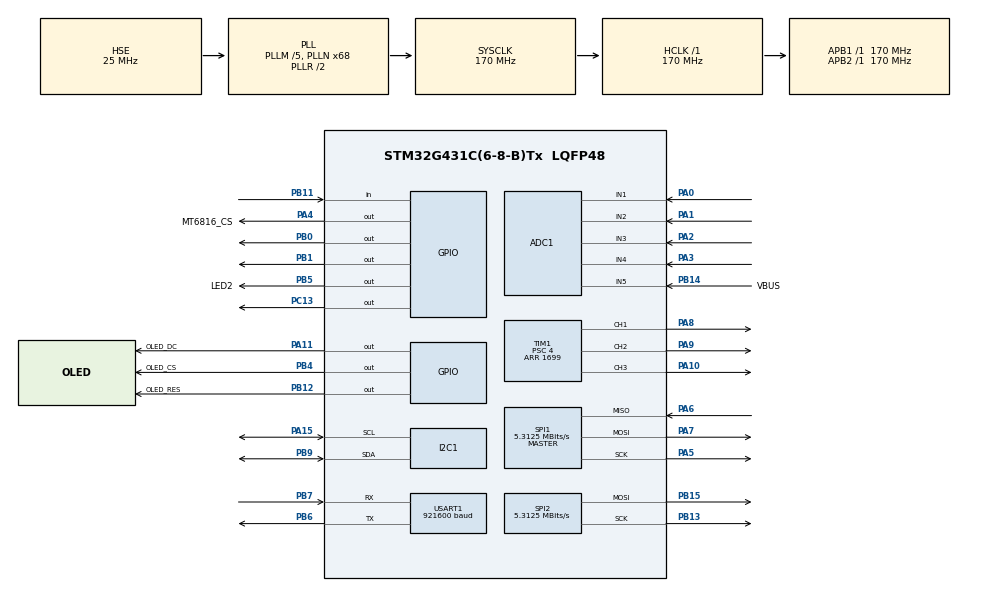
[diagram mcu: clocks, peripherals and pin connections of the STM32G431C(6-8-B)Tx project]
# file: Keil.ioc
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ADC1.Channel-0\#ChannelRegularConversion=ADC_CHANNEL_1
ADC1.Channel-1\#ChannelRegularConversion=ADC_CHANNEL_2
ADC1.Channel-2\#ChannelRegularConversion=ADC_CHANNEL_3
ADC1.Channel-3\#ChannelRegularConversion=ADC_CHANNEL_4
ADC1.Channel-4\#ChannelRegularConversion=ADC_CHANNEL_5
ADC1.ContinuousConvMode=ENABLE
ADC1.EnableInjectedConversion=ENABLE
ADC1.ExternalTrigConv=ADC_SOFTWARE_START
ADC1.ExternalTrigConvEdge=ADC_EXTERNALTRIGCONVEDGE_NONE
ADC1.ExternalTrigInjecConv=ADC_EXTERNALTRIGINJEC_T1_CC4
ADC1.ExternalTrigInjecConvEdge=ADC_EXTERNALTRIGINJECCONV_EDGE_FALLING
ADC1.InjNumberOfConversion=3
ADC1.InjectedChannel-5\#ChannelInjectedConversion=ADC_CHANNEL_1
ADC1.InjectedChannel-6\#ChannelInjectedConversion=ADC_CHANNEL_2
ADC1.InjectedChannel-7\#ChannelInjectedConversion=ADC_CHANNEL_3
ADC1.InjectedOffsetNumber-5\#ChannelInjectedConversion=ADC_OFFSET_NONE
ADC1.InjectedOffsetNumber-6\#ChannelInjectedConversion=ADC_OFFSET_NONE
ADC1.InjectedOffsetNumber-7\#ChannelInjectedConversion=ADC_OFFSET_NONE
ADC1.InjectedRank-5\#ChannelInjectedConversion=1
ADC1.InjectedRank-6\#ChannelInjectedConversion=2
ADC1.InjectedRank-7\#ChannelInjectedConversion=3
ADC1.InjectedSamplingTime-5\#ChannelInjectedConversion=ADC_SAMPLETIME_24CYCLES_5
ADC1.InjectedSamplingTime-6\#ChannelInjectedConversion=ADC_SAMPLETIME_24CYCLES_5
ADC1.InjectedSamplingTime-7\#ChannelInjectedConversion=ADC_SAMPLETIME_24CYCLES_5
ADC1.NbrOfConversion=5
ADC1.NbrOfConversionFlag=1
ADC1.OffsetNumber-0\#ChannelRegularConversion=ADC_OFFSET_NONE
ADC1.OffsetNumber-1\#ChannelRegularConversion=ADC_OFFSET_NONE
ADC1.OffsetNumber-2\#ChannelRegularConversion=ADC_OFFSET_NONE
ADC1.OffsetNumber-3\#ChannelRegularConversion=ADC_OFFSET_NONE
ADC1.OffsetNumber-4\#ChannelRegularConversion=ADC_OFFSET_NONE
ADC1.Rank-0\#ChannelRegularConversion=1
ADC1.Rank-1\#ChannelRegularConversion=2
ADC1.Rank-2\#ChannelRegularConversion=3
ADC1.Rank-3\#ChannelRegularConversion=4
ADC1.Rank-4\#ChannelRegularConversion=5
ADC1.Rank1_Channel=ADC_CHANNEL_1
ADC1.Rank2_Channel=ADC_CHANNEL_2
ADC1.Rank3_Channel=ADC_CHANNEL_3
ADC1.Rank4_Channel=ADC_CHANNEL_1
ADC1.SamplingTime-0\#ChannelRegularConversion=ADC_SAMPLETIME_24CYCLES_5
ADC1.SamplingTime-1\#ChannelRegularConversion=ADC_SAMPLETIME_24CYCLES_5
ADC1.SamplingTime-2\#ChannelRegularConversion=ADC_SAMPLETIME_24CYCLES_5
ADC1.SamplingTime-3\#ChannelRegularConversion=ADC_SAMPLETIME_24CYCLES_5
ADC1.SamplingTime-4\#ChannelRegularConversion=ADC_SAMPLETIME_24CYCLES_5
ADC1.master=1
Dma.ADC1.0.Direction=DMA_PERIPH_TO_MEMORY
Dma.ADC1.0.EventEnable=DISABLE
Dma.ADC1.0.Instance=DMA1_Channel1
Dma.ADC1.0.MemDataAlignment=DMA_MDATAALIGN_HALFWORD
Dma.ADC1.0.MemInc=DMA_MINC_ENABLE
Dma.ADC1.0.Mode=DMA_CIRCULAR
Dma.ADC1.0.PeriphDataAlignment=DMA_PDATAALIGN_HALFWORD
Dma.ADC1.0.PeriphInc=DMA_PINC_DISABLE
Dma.ADC1.0.Polarity=HAL_DMAMUX_REQ_GEN_RISING
Dma.ADC1.0.Priority=DMA_PRIORITY_LOW
Dma.ADC1.0.RequestNumber=1
Dma.ADC1.0.SignalID=NONE
Dma.ADC1.0.SyncEnable=DISABLE
Dma.ADC1.0.SyncPolarity=HAL_DMAMUX_SYNC_NO_EVENT
Dma.ADC1.0.SyncRequestNumber=1
Dma.ADC1.0.SyncSignalID=NONE
Dma.Request0=ADC1
Dma.Request1=USART1_RX
Dma.Request2=USART1_TX
Dma.USART1_RX.1.Direction=DMA_PERIPH_TO_MEMORY
Dma.USART1_RX.1.EventEnable=DISABLE
Dma.USART1_RX.1.Instance=DMA1_Channel2
Dma.USART1_RX.1.MemDataAlignment=DMA_MDATAALIGN_BYTE
Dma.USART1_RX.1.MemInc=DMA_MINC_ENABLE
Dma.USART1_RX.1.Mode=DMA_CIRCULAR
Dma.USART1_RX.1.PeriphDataAlignment=DMA_PDATAALIGN_BYTE
Dma.USART1_RX.1.PeriphInc=DMA_PINC_DISABLE
Dma.USART1_RX.1.Polarity=HAL_DMAMUX_REQ_GEN_RISING
Dma.USART1_RX.1.Priority=DMA_PRIORITY_LOW
Dma.USART1_RX.1.RequestNumber=1
Dma.USART1_RX.1.SignalID=NONE
Dma.USART1_RX.1.SyncEnable=DISABLE
Dma.USART1_RX.1.SyncPolarity=HAL_DMAMUX_SYNC_NO_EVENT
Dma.USART1_RX.1.SyncRequestNumber=1
Dma.USART1_RX.1.SyncSignalID=NONE
Dma.USART1_TX.2.Direction=DMA_MEMORY_TO_PERIPH
Dma.USART1_TX.2.EventEnable=DISABLE
Dma.USART1_TX.2.Instance=DMA1_Channel3
Dma.USART1_TX.2.MemDataAlignment=DMA_MDATAALIGN_BYTE
Dma.USART1_TX.2.MemInc=DMA_MINC_ENABLE
Dma.USART1_TX.2.Mode=DMA_NORMAL
Dma.USART1_TX.2.PeriphDataAlignment=DMA_PDATAALIGN_BYTE
Dma.USART1_TX.2.PeriphInc=DMA_PINC_DISABLE
Dma.USART1_TX.2.Polarity=HAL_DMAMUX_REQ_GEN_RISING
Dma.USART1_TX.2.Priority=DMA_PRIORITY_LOW
Dma.USART1_TX.2.RequestNumber=1
Dma.USART1_TX.2.SignalID=NONE
Dma.USART1_TX.2.SyncEnable=DISABLE
Dma.USART1_TX.2.SyncPolarity=HAL_DMAMUX_SYNC_NO_EVENT
Dma.USART1_TX.2.SyncRequestNumber=1
Dma.USART1_TX.2.SyncSignalID=NONE
I2C1.Timing=0x40B285C2
Mcu.Family=STM32G4
Mcu.Name=STM32G431C(6-8-B)Tx
Mcu.Package=LQFP48
NVIC.ADC1_2_IRQn=true\:2\:0\:true\:false\:true\:true\:true\:true
NVIC.DMA1_Channel1_IRQn=true\:0\:0\:false\:false\:true\:false\:true\:true
NVIC.DMA1_Channel2_IRQn=true\:1\:0\:true\:false\:true\:false\:true\:true
NVIC.DMA1_Channel3_IRQn=true\:2\:0\:true\:false\:true\:false\:true\:true
NVIC.PriorityGroup=NVIC_PRIORITYGROUP_4
NVIC.SPI1_IRQn=true\:4\:0\:true\:false\:true\:true\:true\:true
NVIC.TIM2_IRQn=true\:0\:0\:true\:false\:true\:true\:true\:true
NVIC.USART1_IRQn=true\:2\:0\:true\:false\:true\:true\:true\:true
PA0.Mode=IN1-Single-Ended
PA0.Signal=ADC1_IN1
PA1.Mode=IN2-Single-Ended
PA1.Signal=ADC1_IN2
PA10.Signal=S_TIM1_CH3
PA11.GPIO_Label=OLED_DC
PA11.Signal=GPIO_Output
PA13.Mode=Serial_Wire
PA13.Signal=SYS_JTMS-SWDIO
PA14.Mode=Serial_Wire
PA14.Signal=SYS_JTCK-SWCLK
PA15.Mode=I2C
PA15.Signal=I2C1_SCL
PA2.Mode=IN3-Single-Ended
PA2.Signal=ADC1_IN3
PA3.Mode=IN4-Single-Ended
PA3.Signal=ADC1_IN4
PA4.GPIO_Label=MT6816_CS
PA4.GPIO_PuPd=GPIO_NOPULL
PA4.PinState=GPIO_PIN_SET
PA4.Signal=GPIO_Output
PA5.Mode=Full_Duplex_Master
PA5.Signal=SPI1_SCK
PA6.GPIO_PuPd=GPIO_PULLUP
PA6.Mode=Full_Duplex_Master
PA6.Signal=SPI1_MISO
PA7.GPIO_PuPd=GPIO_PULLUP
PA7.Mode=Full_Duplex_Master
PA7.Signal=SPI1_MOSI
PA8.Signal=S_TIM1_CH1
PA9.Signal=S_TIM1_CH2
PB0.PinState=GPIO_PIN_SET
PB0.Signal=GPIO_Output
PB1.PinState=GPIO_PIN_SET
PB1.Signal=GPIO_Output
PB11.Signal=GPIO_Input
PB12.GPIO_Label=OLED_RES
PB12.Signal=GPIO_Output
PB13.Mode=TX_Only_Simplex_Unidirect_Master
PB13.Signal=SPI2_SCK
PB14.GPIO_Label=VBUS
PB14.Mode=IN5-Single-Ended
PB14.Signal=ADC1_IN5
PB15.Mode=TX_Only_Simplex_Unidirect_Master
PB15.Signal=SPI2_MOSI
PB4.GPIO_Label=OLED_CS
PB4.Signal=GPIO_Output
PB5.GPIO_Label=LED2
PB5.Signal=GPIO_Output
PB6.GPIO_PuPd=GPIO_NOPULL
PB6.Mode=Asynchronous
PB6.Signal=USART1_TX
PB7.GPIO_PuPd=GPIO_PULLUP
PB7.Mode=Asynchronous
PB7.Signal=USART1_RX
PB9.Mode=I2C
PB9.Signal=I2C1_SDA
PC13.Signal=GPIO_Output
PC14-OSC32_IN.Mode=LSE-External-Oscillator
PC14-OSC32_IN.Signal=RCC_OSC32_IN
PC15-OSC32_OUT.Mode=LSE-External-Oscillator
PC15-OSC32_OUT.Signal=RCC_OSC32_OUT
PF0-OSC_IN.Mode=HSE-External-Oscillator
PF0-OSC_IN.Signal=RCC_OSC_IN
PF1-OSC_OUT.Mode=HSE-External-Oscillator
PF1-OSC_OUT.Signal=RCC_OSC_OUT
ProjectManager.HeapSize=0x200
ProjectManager.StackSize=0x400
ProjectManager.TargetToolchain=MDK-ARM V5.32
RCC.ADC12Freq_Value=170000000
RCC.AHBFreq_Value=170000000
RCC.APB1Freq_Value=170000000
RCC.APB1TimFreq_Value=170000000
RCC.APB2Freq_Value=170000000
RCC.APB2TimFreq_Value=170000000
RCC.CortexFreq_Value=170000000
RCC.EXTERNAL_CLOCK_VALUE=12288000
RCC.FDCANCLockSelection=RCC_FDCANCLKSOURCE_PLL
RCC.HCLKFreq_Value=170000000
RCC.HSE_VALUE=25000000
RCC.HSI48_VALUE=48000000
RCC.HSI_VALUE=16000000
RCC.PLLM=RCC_PLLM_DIV5
RCC.PLLN=68
RCC.PLLQ=RCC_PLLQ_DIV4
RCC.PLLSourceVirtual=RCC_PLLSOURCE_HSE
RCC.SYSCLKFreq_VALUE=170000000
RCC.SYSCLKSource=RCC_SYSCLKSOURCE_PLLCLK
RCC.USBFreq_Value=85000000
RCC.VCOOutputFreq_Value=340000000
SH.S_TIM1_CH1.0=TIM1_CH1,PWM Generation1 CH1
SH.S_TIM1_CH2.0=TIM1_CH2,PWM Generation2 CH2
SH.S_TIM1_CH3.0=TIM1_CH3,PWM Generation3 CH3
SPI1.BaudRatePrescaler=SPI_BAUDRATEPRESCALER_32
SPI1.CLKPhase=SPI_PHASE_2EDGE
SPI1.CLKPolarity=SPI_POLARITY_HIGH
SPI1.CalculateBaudRate=5.3125 MBits/s
SPI1.DataSize=SPI_DATASIZE_8BIT
SPI1.Direction=SPI_DIRECTION_2LINES
SPI1.Mode=SPI_MODE_MASTER
SPI1.VirtualType=VM_MASTER
SPI2.BaudRatePrescaler=SPI_BAUDRATEPRESCALER_32
SPI2.CLKPhase=SPI_PHASE_1EDGE
SPI2.CLKPolarity=SPI_POLARITY_LOW
SPI2.CalculateBaudRate=5.3125 MBits/s
SPI2.DataSize=SPI_DATASIZE_8BIT
SPI2.Direction=SPI_DIRECTION_2LINES
SPI2.Mode=SPI_MODE_MASTER
SPI2.VirtualType=VM_MASTER
TIM1.AutoReloadPreload=TIM_AUTORELOAD_PRELOAD_ENABLE
TIM1.Channel-PWM\ Generation1\ CH1=TIM_CHANNEL_1
TIM1.Channel-PWM\ Generation2\ CH2=TIM_CHANNEL_2
TIM1.Channel-PWM\ Generation3\ CH3=TIM_CHANNEL_3
TIM1.Channel-PWM\ Generation4\ No\ Output=TIM_CHANNEL_4
TIM1.CounterMode=TIM_COUNTERMODE_CENTERALIGNED1
TIM1.OCMode_PWM-PWM\ Generation1\ CH1=TIM_OCMODE_PWM2
TIM1.OCMode_PWM-PWM\ Generation2\ CH2=TIM_OCMODE_PWM2
TIM1.OCMode_PWM-PWM\ Generation3\ CH3=TIM_OCMODE_PWM2
TIM1.OCMode_PWM-PWM\ Generation4\ No\ Output=TIM_OCMODE_PWM2
TIM1.OCPolarity_1=TIM_OCPOLARITY_HIGH
TIM1.OCPolarity_2=TIM_OCPOLARITY_HIGH
TIM1.OCPolarity_3=TIM_OCPOLARITY_HIGH
TIM1.PeriodNoDither=1699
TIM1.Prescaler=4
TIM1.TIM_MasterOutputTrigger=TIM_TRGO_UPDATE
TIM1.TIM_MasterSlaveMode=TIM_MASTERSLAVEMODE_DISABLE
TIM2.AutoReloadPreload=TIM_AUTORELOAD_PRELOAD_ENABLE
TIM2.PeriodNoDither=499
TIM2.Prescaler=16
USART1.BaudRate=921600
USART1.DMADisableonRxErrorParam=ADVFEATURE_DMA_ENABLEONRXERROR
USART1.FIFOMode=FIFOMODE_DISABLE
USART1.RXFIFOThreshold=RXFIFO_THRESHOLD_1EIGHTHFULL
USART1.TXFIFOThreshold=TXFIFO_THRESHOLD_1EIGHTHFULL
USART1.VirtualMode-Asynchronous=VM_ASYNC
VP_SYS_VS_DBSignals.Mode=DisableDeadBatterySignals
VP_TIM1_VS_ClockSourceINT.Mode=Internal
VP_TIM1_VS_no_output4.Mode=PWM Generation4 No Output
VP_TIM2_VS_ClockSourceINT.Mode=Internal
board=custom

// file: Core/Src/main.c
/* USER CODE BEGIN Header */
/**
  ******************************************************************************
  * @file           : main.c
  * @brief          : Main program body
  ******************************************************************************
  * @attention
  *
  * Copyright (c) 2025 STMicroelectronics.
  * All rights reserved.
  *
  * This software is licensed under terms that can be found in the LICENSE file
  * in the root directory of this software component.
  * If no LICENSE file comes with this software, it is provided AS-IS.
  *
  ******************************************************************************
  */
/* USER CODE END Header */
#include "main.h"
#include "adc.h"
#include "dma.h"
#include "i2c.h"
#include "spi.h"
#include "tim.h"
#include "usart.h"
#include "gpio.h"

/* USER CODE BEGIN Includes */
#include "motor.h"
#include "current.h"
#include "oled.h"

/* USER CODE END Includes */

/* USER CODE BEGIN PTD */
const unsigned char G[12]={0x0F,0x00,0x10,0x80,0x20,0x40,0x22,0x40,0x33,0x80,0x02,0x00};/*"G",39*/

uint8_t taskFlag_1000Hz = false;
uint8_t taskFlag_100Hz = false;
uint8_t taskFlag_10Hz = false;
uint8_t taskFlag_1Hz = false;
uint8_t led_cnt=0;
uint8_t DriverAlign_flag=false;
uint8_t isample_flag=0;

uint8_t tran_index=0;
uint8_t tran_flag=0;

uint16_t adc_cnt=0;

uint16_t factor=0;
uint8_t usart1_rx[usart1_rx_num]={0};
uint8_t rx_cplt=0XFF;
uint16_t ADC_Value_temp[ADC_CHANNELS]={0};
float ADC_Value[ADC_CHANNELS]={0};

extern MT6816 encoder;
uint8_t try_oled=0xCF;
char tail[4]={0x00,0x00,0x80,0x7f};
SVPWM_Result result1;
SVPWM_Struct FOC1={0};
float pi=3.141593;
float theta_step=0;
PIController cur_lop_iq_pictr;
PIController cur_lop_id_pictr;

char align0[50]={0};
char align1[50]={0};
char align2[50]={0};
int i_DriverAlign=0;

float iq_ref=0.4;
float id_ref=0;
/* USER CODE END PTD */

void SystemClock_Config(void);

int main(void)
{

  /* MCU Configuration--------------------------------------------------------*/

  /* Reset of all peripherals, Initializes the Flash interface and the Systick. */
  HAL_Init();

  /* Configure the system clock */
  SystemClock_Config();

  /* Initialize all configured peripherals */
  MX_GPIO_Init();
  MX_DMA_Init();
  MX_ADC1_Init();
  MX_I2C1_Init();
  MX_SPI1_Init();
  MX_SPI2_Init();
  MX_TIM1_Init();
  MX_USART1_UART_Init();
  MX_TIM2_Init();
  /* USER CODE BEGIN 2 */

        htim1.Instance->CCER |= TIM_CCER_CC4E;  // 启用内部比较事件
        htim1.Instance->CCR4 = 800;           // 设置比较值
        HAL_TIM_Base_Start(&htim1);
  HAL_Delay(1000);
  HAL_TIM_Base_Start_IT(&htim2);
  initMT6816(&encoder,&hspi1);
  SVPWM_Init(&result1);
  HAL_GPIO_WritePin(GPIOC,GPIO_PIN_13,GPIO_PIN_SET);
  HAL_GPIO_WritePin(GPIOB,GPIO_PIN_0,GPIO_PIN_SET);
  HAL_GPIO_WritePin(GPIOB,GPIO_PIN_1,GPIO_PIN_SET);
//  __HAL_TIM_SetCompare(&htim1,TIM_CHANNEL_1,800);
  HAL_ADCEx_InjectedStart_IT(&hadc1);
      /*使用串口空闲中断+DMA前要先接收一次*/
    __HAL_UART_ENABLE_IT(&huart1, UART_IT_IDLE);
    HAL_UART_Receive_DMA(&huart1,usart1_rx,usart1_rx_num);
    HAL_UART_DMAResume(&huart1);
    PIController_Init(&cur_lop_iq_pictr,25,83159,15,0); //83159
    PIController_Init(&cur_lop_id_pictr,25,83159,15,0);
    //DriverAlign(&FOC1);
  //HAL_UART_Receive_IT(&huart1, usart1_rx, usart1_rx_num);
  //HAL_ADC_Start_DMA(&hadc1,(uint32_t *)ADC_Value_temp,ADC_CHANNELS);
//  __HAL_TIM_SetCompare(&htim1,TIM_CHANNEL_1,249);
//  __HAL_TIM_SetCompare(&htim1,TIM_CHANNEL_2,15);
//  __HAL_TIM_SetCompare(&htim1,TIM_CHANNEL_3,484);
    OLED_Init();

    OLED_DisPlay_On();
       // OLED_DisplayTurn(1);
    //OLED_Refresh();
  /* USER CODE END 2 */

  /* Infinite loop */
  while (1)
  {

    /* USER CODE BEGIN 3 */
                //OLED_ShowNum(0,0,4,3,16);

//	   OLED_WR_Byte(0xb0+10,OLED_CMD); //设置行起始地址
//	   OLED_WR_Byte(0x00,OLED_CMD);   //设置低列起始地址
//	   OLED_WR_Byte(0x10,OLED_CMD);   //设置高列起始地址
//	   for(int n=0;n<12;n++)
//		 OLED_WR_Byte(G[n],OLED_DATA);
//          HAL_Delay(100);
                //OLED_Clear()
	  if(taskFlag_10Hz==true){
               if(led_cnt==5){
                      HAL_GPIO_TogglePin(LED2_GPIO_Port,LED2_Pin);
                      led_cnt=0;
                }
                led_cnt+=1;
                HAL_ADC_Start_DMA(&hadc1,(uint32_t *)ADC_Value_temp,ADC_CHANNELS);
                taskFlag_10Hz=false;
	  }
          if(taskFlag_1Hz==true){
                if(tran_flag==1){
                        openloop_analysis(usart1_rx,&FOC1);
			tran_flag=0;
		}
                OLED_ShowString(0,0,(uint8_t*)"Phase Sequence:",12);
                sprintf(align0,"%d",FOC1.ch_a);
                sprintf(align1,"%d",FOC1.ch_b);
                sprintf(align2,"%d",FOC1.ch_c);
                OLED_ShowString(90,0,(uint8_t*)align0,12);
                OLED_ShowString(100,0,(uint8_t*)align1,12);
                OLED_ShowString(110,0,(uint8_t*)align2,12);
                OLED_ShowString(0,10,(uint8_t*)"Location:",12);
                OLED_ShowNum(55,10,encoder.angle_f,3,12);
                OLED_Refresh();
                taskFlag_1Hz=false;
          }
          if(taskFlag_100Hz==true){
                //Transmit_4float(FOC1.i_sample[0],FOC1.i_sample[1],FOC1.i_sample[2],FOC1.iq,&huart1);
                //Transmit_4float(FOC1.iq,iq_ref,FOC1.vq,iq_ref-FOC1.iq,&huart1);
                taskFlag_100Hz=false;
          }
          if(taskFlag_1000Hz==true){
                Transmit_4float(FOC1.iq,iq_ref,FOC1.vq,iq_ref-FOC1.iq,&huart1);
                  taskFlag_1000Hz=false;
          }
  }
  /* USER CODE END 3 */
}

void SystemClock_Config(void)
{
  RCC_OscInitTypeDef RCC_OscInitStruct = {0};
  RCC_ClkInitTypeDef RCC_ClkInitStruct = {0};

  /** Configure the main internal regulator output voltage
  */
  HAL_PWREx_ControlVoltageScaling(PWR_REGULATOR_VOLTAGE_SCALE1_BOOST);

  /** Initializes the RCC Oscillators according to the specified parameters
  * in the RCC_OscInitTypeDef structure.
  */
  RCC_OscInitStruct.OscillatorType = RCC_OSCILLATORTYPE_HSE;
  RCC_OscInitStruct.HSEState = RCC_HSE_ON;
  RCC_OscInitStruct.PLL.PLLState = RCC_PLL_ON;
  RCC_OscInitStruct.PLL.PLLSource = RCC_PLLSOURCE_HSE;
  RCC_OscInitStruct.PLL.PLLM = RCC_PLLM_DIV5;
  RCC_OscInitStruct.PLL.PLLN = 68;
  RCC_OscInitStruct.PLL.PLLP = RCC_PLLP_DIV2;
  RCC_OscInitStruct.PLL.PLLQ = RCC_PLLQ_DIV4;
  RCC_OscInitStruct.PLL.PLLR = RCC_PLLR_DIV2;
  if (HAL_RCC_OscConfig(&RCC_OscInitStruct) != HAL_OK)
  {
    Error_Handler();
  }

  /** Initializes the CPU, AHB and APB buses clocks
  */
  RCC_ClkInitStruct.ClockType = RCC_CLOCKTYPE_HCLK|RCC_CLOCKTYPE_SYSCLK
                              |RCC_CLOCKTYPE_PCLK1|RCC_CLOCKTYPE_PCLK2;
  RCC_ClkInitStruct.SYSCLKSource = RCC_SYSCLKSOURCE_PLLCLK;
  RCC_ClkInitStruct.AHBCLKDivider = RCC_SYSCLK_DIV1;
  RCC_ClkInitStruct.APB1CLKDivider = RCC_HCLK_DIV1;
  RCC_ClkInitStruct.APB2CLKDivider = RCC_HCLK_DIV1;

  if (HAL_RCC_ClockConfig(&RCC_ClkInitStruct, FLASH_LATENCY_4) != HAL_OK)
  {
    Error_Handler();
  }
}

/* USER CODE BEGIN 4 */

/*
%%%%%%%%%%%%%%%%%%%%%%%%%%%%%%%%%%%%%%%%%%%%%%%%%%%%%%%%%%%%%%%%%%%%%%%%%
%%%%%%%%%%%%%%%%%%%%%%%%%%%%%%%%%%%%%%%%%%%%%%%%%%%%%%%%%%%%%%%%%%%%%%%%%
Timer2 Interrupt
��ʱ���жϣ�1��LED��˸
		   2������������
		   3��ADC����
%%%%%%%%%%%%%%%%%%%%%%%%%%%%%%%%%%%%%%%%%%%%%%%%%%%%%%%%%%%%%%%%%%%%%%%%%
%%%%%%%%%%%%%%%%%%%%%%%%%%%%%%%%%%%%%%%%%%%%%%%%%%%%%%%%%%%%%%%%%%%%%%%%%
*/
void HAL_TIM_PeriodElapsedCallback(TIM_HandleTypeDef *htim)
{

    if (htim->Instance == TIM2)
    {
      updateMT6816(&encoder);
      //HAL_ADC_Start_DMA(&hadc1,(uint32_t *)ADC_Value_temp,ADC_CHANNELS);
    }
}
/*
%%%%%%%%%%%%%%%%%%%%%%%%%%%%%%%%%%%%%%%%%%%%%%%%%%%%%%%%%%%%%%%%%%%%%%%%%
%%%%%%%%%%%%%%%%%%%%%%%%%%%%%%%%%%%%%%%%%%%%%%%%%%%%%%%%%%%%%%%%%%%%%%%%%
ADC�ص�
	1������ֵת��
	2��SVPWM�������
%%%%%%%%%%%%%%%%%%%%%%%%%%%%%%%%%%%%%%%%%%%%%%%%%%%%%%%%%%%%%%%%%%%%%%%%%
%%%%%%%%%%%%%%%%%%%%%%%%%%%%%%%%%%%%%%%%%%%%%%%%%%%%%%%%%%%%%%%%%%%%%%%%%

*/

void HAL_ADCEx_InjectedConvCpltCallback(ADC_HandleTypeDef* hadc) {
    if (hadc == &hadc1) {
            ADC_Value[0]=HAL_ADCEx_InjectedGetValue(&hadc1, ADC_INJECTED_RANK_1)*VREF/4095.0F;
            ADC_Value[1]=HAL_ADCEx_InjectedGetValue(&hadc1, ADC_INJECTED_RANK_2)*VREF/4095.0F;
            ADC_Value[2]=HAL_ADCEx_InjectedGetValue(&hadc1, ADC_INJECTED_RANK_3)*VREF/4095.0F;
            if(adc_cnt<200){
                current_zero(&FOC1);
                adc_cnt++;
            }
            else if(adc_cnt==200){
                isample_flag=1;
                   HAL_TIM_PWM_Start(&htim1,TIM_CHANNEL_1);
                   //HAL_TIMEx_PWMN_Start(&htim1,TIM_CHANNEL_1);
                   HAL_TIM_PWM_Start(&htim1,TIM_CHANNEL_2);
                   //HAL_TIMEx_PWMN_Start(&htim1,TIM_CHANNEL_2);
                   HAL_TIM_PWM_Start(&htim1,TIM_CHANNEL_3);
                   //HAL_TIMEx_PWMN_Start(&htim1,TIM_CHANNEL_3);
//                   HAL_TIM_PWM_Start(&htim1,TIM_CHANNEL_4);
                adc_cnt+=1;
                set_pwm(&FOC1,htim1,htim1.Init.Period/2,0,0);//此时设置占空比，才能在下一次进入回调时读取准确的相序学习的电流值
                return;
            }
            if(isample_flag==1){
                    DriverAlign(&FOC1);

            }
            else if(isample_flag==2 && DriverAlign_flag==true){
                current_analysis(ADC_Value,&FOC1);
                open_loop(&FOC1);
                //Current_loop(&FOC1,id_ref,iq_ref);
            }

    }
}
void HAL_ADC_ConvCpltCallback(ADC_HandleTypeDef* hadc){
	if(hadc->Instance == ADC1){
		HAL_TIM_Base_Stop_IT(&htim2);
                ADC_Value[3]=ADC_Value_temp[3]*VREF/4095.0F;
                ADC_Value[4]=ADC_Value_temp[4]*VREF/4095.0F;
//		for(uint8_t i=0;i<ADC_CHANNELS;i++){
//			ADC_Value[i]=ADC_Value_temp[i]*VREF/4095.0F;
//		}
//                if(DriverAlign_flag){
//                        //current_analysis(ADC_Value,&FOC1);
//                        //open_loop(&FOC1);
//                        //Current_loop(&FOC1,id_ref,iq_ref);
//                }
		HAL_TIM_Base_Start_IT(&htim2);
		//HAL_ADC_Start_DMA(&hadc1,(uint32_t *)ADC_Value_temp,ADC_CHANNELS);
	}
}
/*
%%%%%%%%%%%%%%%%%%%%%%%%%%%%%%%%%%%%%%%%%%%%%%%%%%%%%%%%%%%%%%%%%%%%%%%%%
%%%%%%%%%%%%%%%%%%%%%%%%%%%%%%%%%%%%%%%%%%%%%%%%%%%%%%%%%%%%%%%%%%%%%%%%%
���ڽ����ж�
�����ǶȲ�����vq��
		{0X01 ; factor[high] ; factor[low] ; encoder.angle_f ; FOC1.vq ; 0XAF}
			01 00 64 02 0B AF//HEX����
%%%%%%%%%%%%%%%%%%%%%%%%%%%%%%%%%%%%%%%%%%%%%%%%%%%%%%%%%%%%%%%%%%%%%%%%%
%%%%%%%%%%%%%%%%%%%%%%%%%%%%%%%%%%%%%%%%%%%%%%%%%%%%%%%%%%%%%%%%%%%%%%%%%
*/

/*
%%%%%%%%%%%%%%%%%%%%%%%%%%%%%%%%%%%%%%%%%%%%%%%%%%%%%%%%%%%%%%%%%%%%%%%%%
%%%%%%%%%%%%%%%%%%%%%%%%%%%%%%%%%%%%%%%%%%%%%%%%%%%%%%%%%%%%%%%%%%%%%%%%%
%%%%%%%%%%%%%%%%%%%%%%%%%%%%%%%%%%%%%%%%%%%%%%%%%%%%%%%%%%%%%%%%%%%%%%%%%
%%%%%%%%%%%%%%%%%%%%%%%%%%%%%%%%%%%%%%%%%%%%%%%%%%%%%%%%%%%%%%%%%%%%%%%%%
*/
void Transmit_float(float data,uint8_t acc,UART_HandleTypeDef *huart){
    char buffer[32];
    snprintf(buffer, sizeof(buffer), "%f\n", data);
    HAL_UART_Transmit(huart, (uint8_t*)buffer, strlen(buffer),HAL_MAX_DELAY);
}
void Transmit_4float(float data1,float data2,float data3,float data4,UART_HandleTypeDef *huart){
    char buffer[32*3];
    snprintf(buffer, sizeof(buffer), "%f,%f,%f,%f\n", data1,data2,data3,data4);
    HAL_UART_Transmit_DMA(huart, (uint8_t*)buffer, strlen(buffer));
}

/* USER CODE END 4 */

void Error_Handler(void)
{
  __disable_irq();
  while (1)
  {
  }
}
